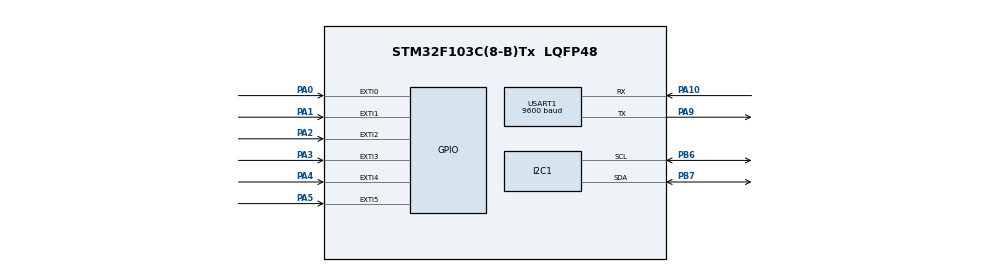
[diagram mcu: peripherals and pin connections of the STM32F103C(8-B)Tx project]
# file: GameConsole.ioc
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I2C1.I2C_Mode=I2C_Fast
Mcu.Family=STM32F1
Mcu.Name=STM32F103C(8-B)Tx
Mcu.Package=LQFP48
NVIC.EXTI0_IRQn=true\:0\:0\:false\:false\:true\:true\:true\:true
NVIC.EXTI1_IRQn=true\:0\:0\:false\:false\:true\:true\:true\:true
NVIC.EXTI2_IRQn=true\:0\:0\:false\:false\:true\:true\:true\:true
NVIC.EXTI3_IRQn=true\:0\:0\:false\:false\:true\:true\:true\:true
NVIC.EXTI4_IRQn=true\:0\:0\:false\:false\:true\:true\:true\:true
NVIC.EXTI9_5_IRQn=true\:0\:0\:false\:false\:true\:true\:true\:true
NVIC.PriorityGroup=NVIC_PRIORITYGROUP_4
PA0-WKUP.GPIO_ModeDefaultEXTI=GPIO_MODE_IT_RISING_FALLING
PA0-WKUP.GPIO_PuPd=GPIO_PULLDOWN
PA0-WKUP.Signal=GPXTI0
PA1.GPIO_ModeDefaultEXTI=GPIO_MODE_IT_RISING_FALLING
PA1.GPIO_PuPd=GPIO_PULLDOWN
PA1.Signal=GPXTI1
PA10.Mode=Asynchronous
PA10.Signal=USART1_RX
PA13.Mode=Serial_Wire
PA13.Signal=SYS_JTMS-SWDIO
PA14.Mode=Serial_Wire
PA14.Signal=SYS_JTCK-SWCLK
PA2.GPIO_ModeDefaultEXTI=GPIO_MODE_IT_RISING_FALLING
PA2.GPIO_PuPd=GPIO_PULLDOWN
PA2.Signal=GPXTI2
PA3.GPIO_ModeDefaultEXTI=GPIO_MODE_IT_RISING_FALLING
PA3.GPIO_PuPd=GPIO_PULLDOWN
PA3.Signal=GPXTI3
PA4.GPIO_ModeDefaultEXTI=GPIO_MODE_IT_RISING_FALLING
PA4.GPIO_PuPd=GPIO_PULLDOWN
PA4.Signal=GPXTI4
PA5.GPIO_ModeDefaultEXTI=GPIO_MODE_IT_RISING_FALLING
PA5.GPIO_PuPd=GPIO_PULLDOWN
PA5.Signal=GPXTI5
PA9.Mode=Asynchronous
PA9.Signal=USART1_TX
PB6.Mode=I2C
PB6.Signal=I2C1_SCL
PB7.Mode=I2C
PB7.Signal=I2C1_SDA
ProjectManager.HeapSize=0x200
ProjectManager.StackSize=0x400
ProjectManager.TargetToolchain=STM32CubeIDE
RCC.APB1Freq_Value=8000000
RCC.APB2Freq_Value=8000000
USART1.BaudRate=9600
USART1.VirtualMode=VM_ASYNC
board=custom

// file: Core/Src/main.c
/* USER CODE BEGIN Header */
/**
  ******************************************************************************
  * @file           : main.c
  * @brief          : Main program body
  ******************************************************************************
  * @attention
  *
  * Copyright (c) 2025 STMicroelectronics.
  * All rights reserved.
  *
  * This software is licensed under terms that can be found in the LICENSE file
  * in the root directory of this software component.
  * If no LICENSE file comes with this software, it is provided AS-IS.
  *
  ******************************************************************************
  */
/* USER CODE END Header */
#include "main.h"

/* USER CODE BEGIN Includes */
# include "input.h"
# include "stdio.h"
# include "display.h"
/* USER CODE END Includes */

/* USER CODE BEGIN PD */
# define white 1
# define black 0
/* USER CODE END PD */

I2C_HandleTypeDef hi2c1;

UART_HandleTypeDef huart1;

void SystemClock_Config(void);
static void MX_GPIO_Init(void);
static void MX_USART1_UART_Init(void);
static void MX_I2C1_Init(void);

int main(void)
{

  /* MCU Configuration--------------------------------------------------------*/

  /* Reset of all peripherals, Initializes the Flash interface and the Systick. */
  HAL_Init();

  /* Configure the system clock */
  SystemClock_Config();

  /* Initialize all configured peripherals */
  MX_GPIO_Init();
  MX_USART1_UART_Init();
  MX_I2C1_Init();
  /* USER CODE BEGIN 2 */
	Input_Init();
	Display_Init(&hi2c1);

	Display_DrawRect(64, 32, 10, 10, white);
	Display_DrawRect(64, 32, 25, 50, white);
	Display_FillRect(-100, 0, 25, 50, white);
	Display_Update();

  /* USER CODE END 2 */

  /* Infinite loop */
  /* USER CODE BEGIN WHILE */
  while (1)
  {
	  Input_UpdatePerFrame();
	  uint32_t s = Input_GetState();
	  printf("%08lX\r\n", s);
	  HAL_Delay(33);

    /* USER CODE END WHILE */

  }
}

void SystemClock_Config(void)
{
  RCC_OscInitTypeDef RCC_OscInitStruct = {0};
  RCC_ClkInitTypeDef RCC_ClkInitStruct = {0};

  /** Initializes the RCC Oscillators according to the specified parameters
  * in the RCC_OscInitTypeDef structure.
  */
  RCC_OscInitStruct.OscillatorType = RCC_OSCILLATORTYPE_HSI;
  RCC_OscInitStruct.HSIState = RCC_HSI_ON;
  RCC_OscInitStruct.HSICalibrationValue = RCC_HSICALIBRATION_DEFAULT;
  RCC_OscInitStruct.PLL.PLLState = RCC_PLL_NONE;
  if (HAL_RCC_OscConfig(&RCC_OscInitStruct) != HAL_OK)
  {
    Error_Handler();
  }

  /** Initializes the CPU, AHB and APB buses clocks
  */
  RCC_ClkInitStruct.ClockType = RCC_CLOCKTYPE_HCLK|RCC_CLOCKTYPE_SYSCLK
                              |RCC_CLOCKTYPE_PCLK1|RCC_CLOCKTYPE_PCLK2;
  RCC_ClkInitStruct.SYSCLKSource = RCC_SYSCLKSOURCE_HSI;
  RCC_ClkInitStruct.AHBCLKDivider = RCC_SYSCLK_DIV1;
  RCC_ClkInitStruct.APB1CLKDivider = RCC_HCLK_DIV1;
  RCC_ClkInitStruct.APB2CLKDivider = RCC_HCLK_DIV1;

  if (HAL_RCC_ClockConfig(&RCC_ClkInitStruct, FLASH_LATENCY_0) != HAL_OK)
  {
    Error_Handler();
  }
}

static void MX_I2C1_Init(void)
{

  hi2c1.Instance = I2C1;
  hi2c1.Init.ClockSpeed = 400000;
  hi2c1.Init.DutyCycle = I2C_DUTYCYCLE_2;
  hi2c1.Init.OwnAddress1 = 0;
  hi2c1.Init.AddressingMode = I2C_ADDRESSINGMODE_7BIT;
  hi2c1.Init.DualAddressMode = I2C_DUALADDRESS_DISABLE;
  hi2c1.Init.OwnAddress2 = 0;
  hi2c1.Init.GeneralCallMode = I2C_GENERALCALL_DISABLE;
  hi2c1.Init.NoStretchMode = I2C_NOSTRETCH_DISABLE;
  if (HAL_I2C_Init(&hi2c1) != HAL_OK)
  {
    Error_Handler();
  }

}

static void MX_USART1_UART_Init(void)
{

  huart1.Instance = USART1;
  huart1.Init.BaudRate = 9600;
  huart1.Init.WordLength = UART_WORDLENGTH_8B;
  huart1.Init.StopBits = UART_STOPBITS_1;
  huart1.Init.Parity = UART_PARITY_NONE;
  huart1.Init.Mode = UART_MODE_TX_RX;
  huart1.Init.HwFlowCtl = UART_HWCONTROL_NONE;
  huart1.Init.OverSampling = UART_OVERSAMPLING_16;
  if (HAL_UART_Init(&huart1) != HAL_OK)
  {
    Error_Handler();
  }

}

static void MX_GPIO_Init(void)
{
  GPIO_InitTypeDef GPIO_InitStruct = {0};

  /* GPIO Ports Clock Enable */
  __HAL_RCC_GPIOA_CLK_ENABLE();
  __HAL_RCC_GPIOB_CLK_ENABLE();

  /*Configure GPIO pins : PA0 PA1 PA2 PA3
                           PA4 PA5 */
  GPIO_InitStruct.Pin = GPIO_PIN_0|GPIO_PIN_1|GPIO_PIN_2|GPIO_PIN_3
                          |GPIO_PIN_4|GPIO_PIN_5;
  GPIO_InitStruct.Mode = GPIO_MODE_IT_RISING_FALLING;
  GPIO_InitStruct.Pull = GPIO_PULLDOWN;
  HAL_GPIO_Init(GPIOA, &GPIO_InitStruct);

  /* EXTI interrupt init*/
  HAL_NVIC_SetPriority(EXTI0_IRQn, 0, 0);
  HAL_NVIC_EnableIRQ(EXTI0_IRQn);

  HAL_NVIC_SetPriority(EXTI1_IRQn, 0, 0);
  HAL_NVIC_EnableIRQ(EXTI1_IRQn);

  HAL_NVIC_SetPriority(EXTI2_IRQn, 0, 0);
  HAL_NVIC_EnableIRQ(EXTI2_IRQn);

  HAL_NVIC_SetPriority(EXTI3_IRQn, 0, 0);
  HAL_NVIC_EnableIRQ(EXTI3_IRQn);

  HAL_NVIC_SetPriority(EXTI4_IRQn, 0, 0);
  HAL_NVIC_EnableIRQ(EXTI4_IRQn);

  HAL_NVIC_SetPriority(EXTI9_5_IRQn, 0, 0);
  HAL_NVIC_EnableIRQ(EXTI9_5_IRQn);

}

/* USER CODE BEGIN 4 */
int _write(int file, char *ptr, int len)
{
	HAL_UART_Transmit(&huart1, (uint8_t*)ptr, len, HAL_MAX_DELAY);
	return len;
}
/* USER CODE END 4 */

void Error_Handler(void)
{
  __disable_irq();
  while (1)
  {
  }
}
